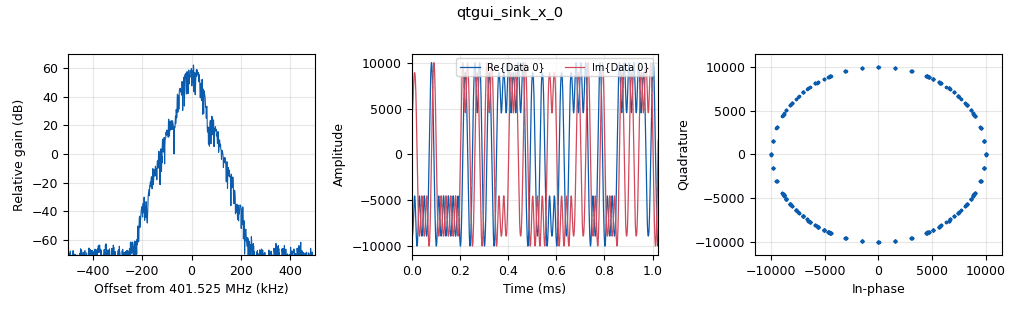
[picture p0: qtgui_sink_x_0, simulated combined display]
options:
  parameters:
    generate_options: qt_gui
    id: bursty_gmsk_sc16_tx
    output_language: python
    title: Bursty GMSK operation.
  states: {}

blocks:
- name: GMSK_samp_per_symb
  id: variable
  parameters:
    value: '10'
  states: {}
- name: GMSK_symb_per_byte
  id: variable
  parameters:
    value: '8'
  states: {}
- name: amp_all
  id: variable_qtgui_range
  parameters:
    gui_hint: 0,1,1,1
    label: Amp Sel
    outputmsgname: value
    showports: 'False'
    start: '0'
    step: '100'
    stop: '32000'
    value: '26000'
  states: {}
- name: freq
  id: variable
  parameters:
    value: '401525000'
  states: {}
- name: freq
  id: variable
  parameters:
    value: '10000000'
  states: {state: disabled}
- name: freq
  id: variable
  parameters:
    value: '0'
  states: {state: disabled}
- name: freq_all
  id: variable_qtgui_range
  parameters:
    gui_hint: 0,0,1,1
    label: Freq Sel
    min_len: '2000'
    outputmsgname: value
    showports: 'False'
    start: '-samp_rate/2'
    step: '1000'
    stop: samp_rate/2
    value: '-samp_rate/10'
  states: {}
- name: samp_rate
  id: variable
  parameters:
    value: '1000000'
  states: {}
- name: blocks_complex_to_interleaved_short_0
  id: blocks_complex_to_interleaved_short
  parameters:
    scale_factor: '1'
    vector_output: 'True'
  states: {}
- name: blocks_message_strobe_0
  id: blocks_message_strobe
  parameters:
    msg: pmt.intern("TEST")
    period: '500'
  states: {}
- name: blocks_multiply_const_vxx_0
  id: blocks_multiply_const_vxx
  parameters:
    const: '10000'
    type: complex
  states: {}
- name: blocks_tagged_stream_multiply_length_0
  id: blocks_tagged_stream_multiply_length
  parameters:
    c: GMSK_symb_per_byte*GMSK_samp_per_symb
    lengthtagname: packet_len
    type: complex
  states: {}
- name: digital_gmsk_mod_0
  id: digital_gmsk_mod
  parameters:
    bt: '0.35'
    samples_per_symbol: '10'
  states: {}
- name: pdu_pdu_to_tagged_stream_1
  id: pdu_pdu_to_tagged_stream
  parameters:
    tag: packet_len
    type: byte
  states: {}
- name: pdu_random_pdu_0
  id: pdu_random_pdu
  parameters:
    length_modulo: '1'
    mask: '0xFF'
    maxsize: '2'
    minsize: '2'
  states: {}
- name: qtgui_sink_x_0
  id: qtgui_sink_x
  parameters:
    bw: samp_rate
    fc: freq
    fftsize: '1024'
    rate: '100'
    type: complex
  states: {}
- name: qtgui_sink_x_0_0
  id: qtgui_sink_x
  parameters:
    bw: 1000000*10
    fc: '0'
    fftsize: '1024'
    gui_hint: 5,0,7,2
    name: '"Shifted IQ Data"'
    plotconst: 'False'
    plotfreq: 'False'
    plottime: 'False'
    rate: '100'
    type: complex
  states: {}
- name: uhd_usrp_sink_0
  id: uhd_usrp_sink
  parameters:
    ant0: '"TX/RX"'
    bw0: '200000'
    center_freq0: freq
    dev_addr: ''
    dev_args: '"crimson"'
    gain0: '15'
    len_tag_name: packet_len
    otw: sc16
    samp_rate: samp_rate
    show_lo_controls: 'True'
    stream_args: sc16
    stream_chans: '[0]'
    sync: sync
    type: sc16
  states: {}
- name: uhd_usrp_source_0_1
  id: uhd_usrp_source
  parameters:
    ant0: '"RX1"'
    bw0: '200000'
    center_freq0: freq
    dev_addr: ''
    dev_args: '"crimson"'
    gain0: '10'
    rx_agc0: Disabled
    samp_rate: samp_rate
    stream_chans: '[0]'
    sync: sync
    type: fc32
  states: {}

connections:
- [blocks_complex_to_interleaved_short_0, '0', uhd_usrp_sink_0, '0']
- [blocks_message_strobe_0, strobe, pdu_random_pdu_0, generate]
- [blocks_multiply_const_vxx_0, '0', blocks_complex_to_interleaved_short_0, '0']
- [blocks_multiply_const_vxx_0, '0', qtgui_sink_x_0, '0']
- [blocks_tagged_stream_multiply_length_0, '0', blocks_multiply_const_vxx_0, '0']
- [digital_gmsk_mod_0, '0', blocks_tagged_stream_multiply_length_0, '0']
- [pdu_pdu_to_tagged_stream_1, '0', digital_gmsk_mod_0, '0']
- [pdu_random_pdu_0, pdus, pdu_pdu_to_tagged_stream_1, pdus]
- [uhd_usrp_source_0_1, '0', qtgui_sink_x_0_0, '0']

metadata:
  file_format: 1
  grc_version: 3.10.4.0
